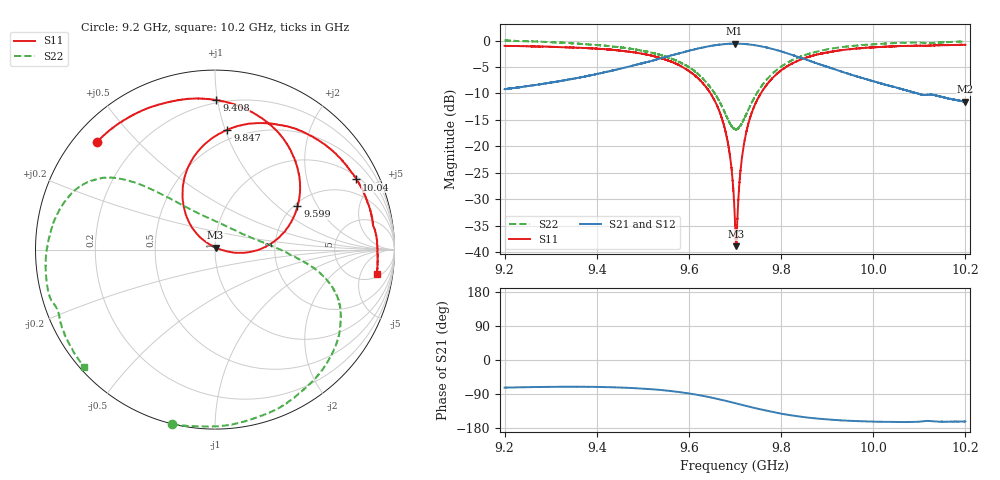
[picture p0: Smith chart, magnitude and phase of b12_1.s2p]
!Agilent Technologies,N5242A,MY51221714,A.09.90.19
!Agilent N5242A: A.09.90.19
!Date: Tuesday, March 26, 2024 16:46:34
!Correction: S11(Full 2 Port(1,2))
!S21(Full 2 Port(1,2))
!S12(Full 2 Port(1,2))
!S22(Full 2 Port(1,2))
!S2P File: Measurements: S11, S21, S12, S22:
# Hz S  dB  R 50
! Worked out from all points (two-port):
!   16001 points, 9.2 GHz to 10.2 GHz, reference 50 ohm
!   highest |S21| = -0.57 dB at 9.699 GHz (marker M1); lowest = -11.6 dB at 10.2 GHz (marker M2)
!   |S21| within 3 dB of the highest: 9.530575 GHz to 9.530798 GHz (222.9 kHz wide, 0.00234 % of centre); 9.531 GHz to 9.853 GHz (322.5 MHz wide, 3.33 % of centre)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
!   lowest |S11| = -38.9 dB at 9.703 GHz (marker M3), VSWR 1.02, Z = 50.3 + j1.11 ohm
!   |S11| at or under -10 dB: 9.647 GHz to 9.756 GHz (108.9 MHz wide, 1.12 % of centre)
!   |S22| runs from -16.8 to 0.0 dB; largest |S21 - S12| = 0.012
!   S11 on the Smith chart (normalised r, x): 9.2 GHz: 0.07, +0.39; 9.408 GHz: 0.18, +0.99; 9.599 GHz: 2.08, +1.38; 9.847 GHz: 0.42, +1.02; 10.04 GHz: 1.14, +3.96; 10.2 GHz: 6, -10
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9.2e9  -1.01 137.6  -9.19 -73.0  -9.16 -73.8  0.01 -103.8
9.278062e9  -1.13 120.6  -8.26 -71.1  -8.24 -71.9  -0.22 -82.6
9.366688e9  -1.38 100.1  -6.94 -70.7  -6.92 -71.4  -0.65 -59.6
9.408438e9  -1.60 89.5  -6.18 -71.3  -6.15 -72.0  -0.90 -49.2
9.533375e9  -3.20 52.4  -3.51 -78.6  -3.49 -79.1  -2.59 -22.0
9.598875e9  -5.70 27.9  -1.97 -88.0  -1.95 -88.6  -4.98 -10.9
9.64175e9  -9.33 8.7  -1.11 -97.4  -1.11 -98.0  -8.32 -1.6
9.670812e9  -14.55 -4.4  -0.73 -105.2  -0.72 -105.8  -12.30 12.5
9.688688e9  -21.56 -9.1  -0.61 -110.4  -0.59 -111.0  -15.59 35.2
9.699e9  -32.36 7.9  -0.57 -113.5  -0.57 -114.1  -16.69 58.0
9.7e9  -34.23 14.4  -0.58 -113.8  -0.57 -114.4  -16.74 60.2
9.702875e9  -38.87 75.4  -0.58 -114.7  -0.57 -115.3  -16.76 67.4
9.718188e9  -20.26 140.5  -0.64 -119.4  -0.62 -120.0  -15.09 99.8
9.741062e9  -12.57 131.3  -0.85 -126.2  -0.83 -126.9  -10.94 124.0
9.784188e9  -6.84 111.0  -1.66 -137.7  -1.66 -138.5  -6.02 137.0
9.847062e9  -3.47 84.1  -3.38 -150.3  -3.39 -150.9  -2.89 146.0
9.866688e9  -2.91 76.8  -3.97 -153.1  -3.98 -153.7  -2.35 148.8
9.934938e9  -1.77 54.4  -5.98 -159.7  -5.98 -160.2  -1.22 160.5
1.003338e10  -1.14 28.0  -8.51 -163.2  -8.50 -163.8  -0.54 -178.9
1.003962e10  -1.11 26.4  -8.64 -163.4  -8.64 -163.9  -0.50 -177.5
1.019975e10  -0.81 -8.6  -11.58 -162.2  -11.57 -162.9  -0.20 -138.2
1.02e10  -0.80 -8.7  -11.57 -162.2  -11.58 -162.9  -0.20 -138.2
